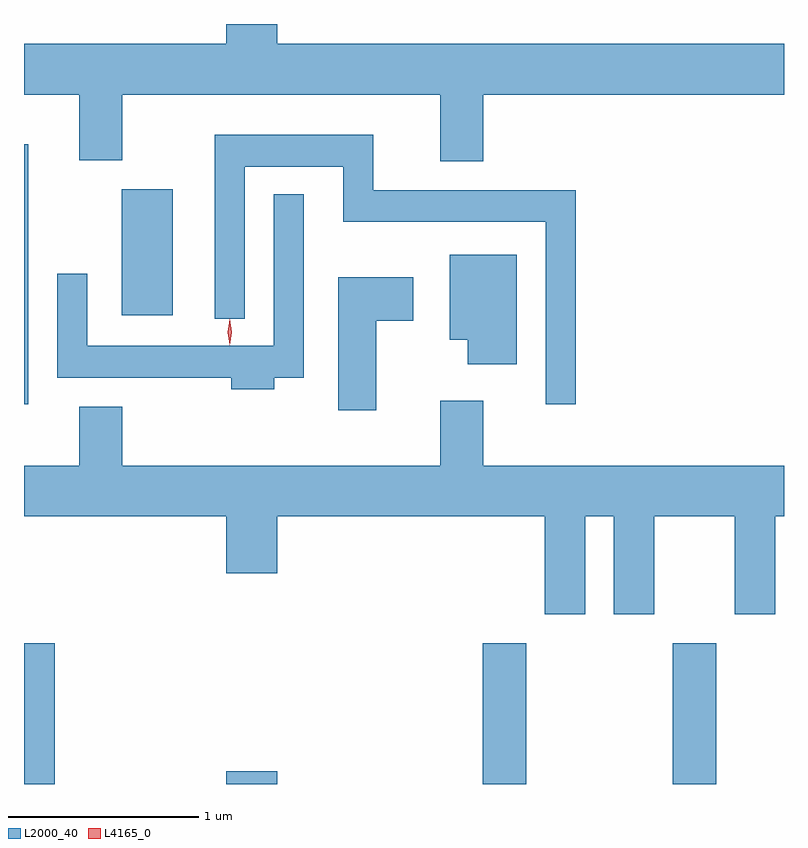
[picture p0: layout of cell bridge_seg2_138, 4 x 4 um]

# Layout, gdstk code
import gdstk
lib = gdstk.Library(unit=1e-6, precision=1e-09)
def R(c, l, rs):  # rectangles x0, y0, x1, y1
    for r in rs: c.add(gdstk.rectangle(r[:2], r[2:], *l))
def P(c, l, *ps):  # polygons
    for p in ps: c.add(gdstk.Polygon(p, *l))
L2000_40 = (2000, 40)
L4165_0 = (4165, 0)

bridge_seg2_138 = lib.new_cell('bridge_seg2_138')
R(bridge_seg2_138, L2000_40, [(993.231,1111.288,993.394,1112.029), (994.296,1111.288,994.564,1111.354), (995.646,1111.288,995.874,1112.029), (996.646,1111.288,996.874,1112.029), (993.231,1113.288,993.254,1114.654), (993.746,1113.756,994.014,1114.419)])
P(bridge_seg2_138, L2000_40, [(995.649,1114.916),(997.231,1114.916),(997.231,1115.184),(994.564,1115.184),(994.564,1115.288),(994.296,1115.288),(994.296,1115.184),(993.231,1115.184),(993.231,1114.916),(993.521,1114.916),(993.521,1114.571),(993.749,1114.571),(993.749,1114.916),(995.421,1114.916),(995.421,1114.566),(995.649,1114.566)],
  [(996.134,1114.414),(995.069,1114.414),(995.069,1114.704),(994.236,1114.704),(994.236,1113.738),(994.394,1113.738),(994.394,1114.536),(994.911,1114.536),(994.911,1114.246),(995.976,1114.246),(995.976,1113.288),(996.134,1113.288)],
  [(994.549,1113.426),(994.704,1113.426),(994.704,1114.393),(994.546,1114.393),(994.546,1113.594),(993.564,1113.594),(993.564,1113.973),(993.406,1113.973),(993.406,1113.426),(994.321,1113.426),(994.321,1113.366),(994.549,1113.366)],
  [(995.824,1114.074),(995.471,1114.074),(995.471,1113.626),(995.566,1113.626),(995.566,1113.496),(995.824,1113.496)],
  [(995.084,1113.726),(995.279,1113.726),(995.279,1113.954),(994.886,1113.954),(994.886,1113.256),(995.084,1113.256)],
  [(996.184,1112.696),(996.336,1112.696),(996.336,1112.181),(996.549,1112.181),(996.549,1112.696),(996.971,1112.696),(996.971,1112.181),(997.184,1112.181),(997.184,1112.696),(997.231,1112.696),(997.231,1112.964),(995.649,1112.964),(995.649,1113.304),(995.421,1113.304),(995.421,1112.964),(993.749,1112.964),(993.749,1113.274),(993.521,1113.274),(993.521,1112.964),(993.231,1112.964),(993.231,1112.696),(994.296,1112.696),(994.296,1112.396),(994.564,1112.396),(994.564,1112.696),(995.971,1112.696),(995.971,1112.181),(996.184,1112.181)])
P(bridge_seg2_138, L4165_0, [(994.314,1113.599),(994.314,1113.6),(994.304,1113.666),(994.314,1113.732),(994.314,1113.733),(994.315,1113.732),(994.324,1113.666),(994.315,1113.6)],
  [(994.314,1113.597),(994.305,1113.666),(994.314,1113.736),(994.315,1113.736),(994.315,1113.736),(994.325,1113.666),(994.315,1113.597),(994.315,1113.597)])

lib.write_gds('bridge_seg2_138.gds')
